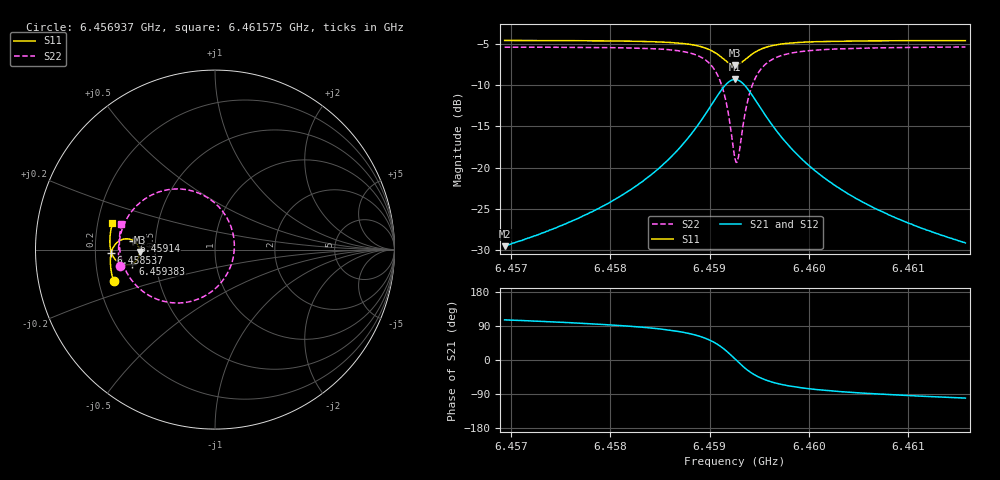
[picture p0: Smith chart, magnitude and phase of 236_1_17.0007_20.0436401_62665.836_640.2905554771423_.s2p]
#  HZ  S  RI  R  50.00
! Rohde & Schwarz Vector Network Analyzer
! Rohde-Schwarz,ZNB20-2Port,1311601062101988,3.16
! Created: UTC 3/20/2024, 11:02:40 PM
! freq[Hz]  re:S11  im:S11  re:S21  im:S21  re:S12  im:S12  re:S22  im:S22
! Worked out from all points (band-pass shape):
!   401 points, 6.456937 GHz to 6.461575 GHz, reference 50 ohm
!   highest |S21| = -9.29 dB at 6.459256 GHz (marker M1); lowest = -29.5 dB at 6.456937 GHz (marker M2)
!   |S21| within 3 dB of the highest: 6.459023 GHz to 6.459488 GHz (464.4 kHz wide, 0.00719 % of centre)
!   lowest |S11| = -7.6 dB at 6.459256 GHz (marker M3), VSWR 2.44, Z = 20.5 - j0.623 ohm
!   |S11| at or under -10 dB: nowhere
!   |S22| runs from -19.4 to -5.3 dB; largest |S21 - S12| = 0.013
!   S11 on the Smith chart (normalised r, x): 6.456937 GHz: 0.26, -0.14; 6.458537 GHz: 0.27, -0.01; 6.45914 GHz: 0.37, +0.05; 6.459383 GHz: 0.37, -0.07; 6.461575 GHz: 0.26, +0.12
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6.4569365e9  -0.5654 -0.1763  -0.00915 0.032  -0.00741 0.0321  -0.5312 -0.0922
6.4577134e9  -0.58 -0.1086  -0.00603 0.05  -0.00347 0.0494  -0.5376 -0.00169
6.4581425e9  -0.5832 -0.0657  -0.000147 0.0695  0.00301 0.0681  -0.5302 0.0659
6.4584904e9  -0.5797 -0.0244  0.0134 0.0983  0.0173 0.0957  -0.5055 0.1439
6.4585367e9  -0.5783 -0.0182  0.0169 0.1039  0.0208 0.1008  -0.4994 0.1571
6.4587455e9  -0.5662 0.0138  0.0426 0.1353  0.0468 0.1307  -0.4511 0.2289
6.4588962e9  -0.5451 0.0402  0.0849 0.1657  0.0883 0.1593  -0.3731 0.2934
6.459047e9  -0.4991 0.0599  0.1765 0.185  0.1775 0.1777  -0.2059 0.3379
6.4591397e9  -0.4548 0.0499  0.266 0.1544  0.2663 0.1485  -0.0401 0.2887
6.4591861e9  -0.4337 0.0312  0.3094 0.1118  0.3108 0.1067  0.0426 0.2131
6.4592557e9  -0.419 -0.0125  0.3429 0.0156  0.3465 0.00887  0.1076 0.0347
6.4592673e9  -0.4193 -0.0204  0.3429 -0.00192  0.3466 -0.00957  0.1075 0.00134
6.4592905e9  -0.423 -0.036  0.3373 -0.0365  0.3412 -0.0454  0.0968 -0.0641
6.4593832e9  -0.4601 -0.078  0.2677 -0.1368  0.2669 -0.15  -0.0441 -0.2509
6.4594296e9  -0.4828 -0.0848  0.2237 -0.1594  0.2199 -0.1721  -0.1321 -0.288
6.4594876e9  -0.5077 -0.084  0.1747 -0.1689  0.1684 -0.1798  -0.2289 -0.2969
6.4596383e9  -0.549 -0.0625  0.092 -0.1529  0.0837 -0.1589  -0.386 -0.2443
6.4598007e9  -0.5693 -0.035  0.0497 -0.1257  0.0422 -0.1284  -0.4618 -0.1737
6.4600326e9  -0.581 -0.00125  0.0226 -0.0964  0.0169 -0.097  -0.5064 -0.0965
6.4603805e9  -0.5858 0.0398  0.00655 -0.0698  0.0025 -0.0694  -0.5282 -0.0177
6.4608095e9  -0.5838 0.0826  -0.00111 -0.0514  -0.00402 -0.0507  -0.5327 0.0506
6.4615748e9  -0.5716 0.1503  -0.00636 -0.0343  -0.00804 -0.0334  -0.5218 0.1407
